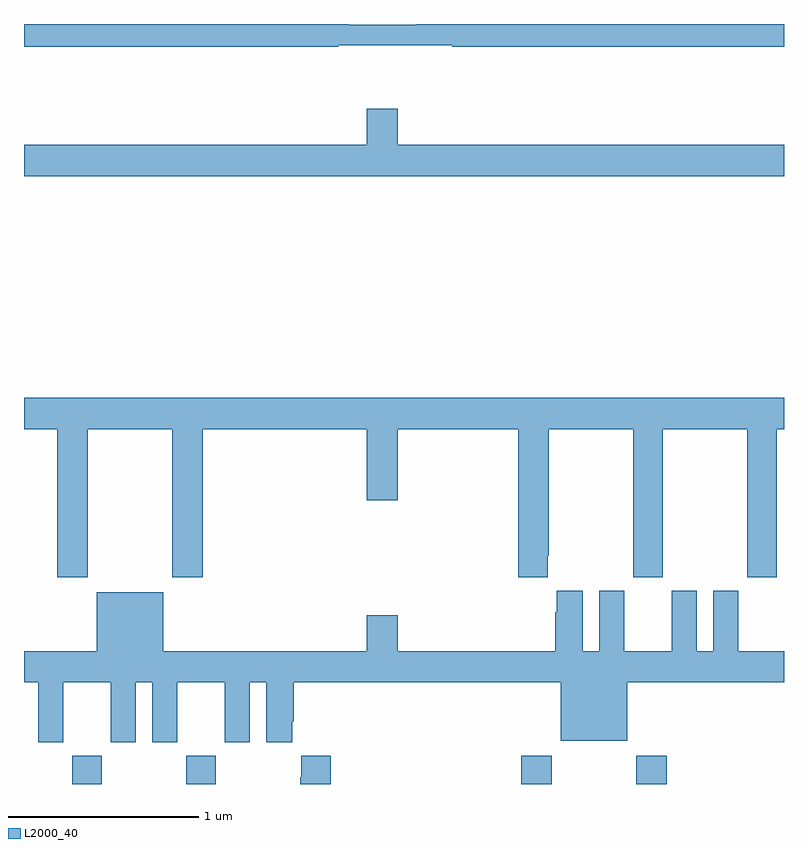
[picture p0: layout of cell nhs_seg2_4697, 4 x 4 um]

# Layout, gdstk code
import gdstk
lib = gdstk.Library(unit=1e-6, precision=1e-09)
def R(c, l, rs):  # rectangles x0, y0, x1, y1
    for r in rs: c.add(gdstk.rectangle(r[:2], r[2:], *l))
def P(c, l, *ps):  # polygons
    for p in ps: c.add(gdstk.Polygon(p, *l))
L2000_40 = (2000, 40)

nhs_seg2_4697 = lib.new_cell('nhs_seg2_4697')
R(nhs_seg2_4697, L2000_40, [(367.255,613.8,367.41,613.948), (367.855,613.8,368.01,613.948), (369.617,613.8,369.777,613.948), (370.222,613.8,370.382,613.948)])
P(nhs_seg2_4697, L2000_40, [(368.655,617.688),(369.255,617.688),(369.255,617.68),(371,617.68),(371,617.8),(369.064,617.8),(369.064,617.797),(368.708,617.797),(368.708,617.8),(367,617.8),(367,617.68),(368.655,617.68)],
  [(371,617.164),(368.968,617.164),(368.968,617.353),(368.804,617.353),(368.804,617.164),(367,617.164),(367,617),(371,617)],
  [(367.335,615.668),(367.78,615.668),(367.78,614.889),(367.94,614.889),(367.94,615.668),(368.804,615.668),(368.804,615.294),(368.968,615.294),(368.968,615.668),(369.602,615.668),(369.602,614.889),(369.757,614.889),(369.757,615.001),(369.762,615.001),(369.762,615.668),(370.207,615.668),(370.207,614.889),(370.362,614.889),(370.362,615.668),(370.807,615.668),(370.807,614.889),(370.962,614.889),(370.962,615.668),(371,615.668),(371,615.832),(367,615.832),(367,615.668),(367.175,615.668),(367.175,614.889),(367.335,614.889)],
  [(367.732,614.809),(367.382,614.809),(367.382,614.5),(367,614.5),(367,614.336),(367.076,614.336),(367.076,614.019),(367.207,614.019),(367.207,614.336),(367.457,614.336),(367.457,614.019),(367.588,614.019),(367.588,614.336),(367.676,614.336),(367.676,614.019),(367.807,614.019),(367.807,614.336),(368.057,614.336),(368.057,614.019),(368.188,614.019),(368.188,614.336),(368.276,614.336),(368.276,614.019),(368.413,614.019),(368.413,614.131),(368.42,614.131),(368.42,614.336),(369.824,614.336),(369.824,614.027),(370.174,614.027),(370.174,614.336),(371,614.336),(371,614.5),(370.759,614.5),(370.759,614.818),(370.628,614.818),(370.628,614.5),(370.54,614.5),(370.54,614.818),(370.409,614.818),(370.409,614.5),(370.159,614.5),(370.159,614.818),(370.028,614.818),(370.028,614.5),(369.94,614.5),(369.94,614.818),(369.803,614.818),(369.803,614.705),(369.797,614.705),(369.797,614.5),(368.968,614.5),(368.968,614.689),(368.804,614.689),(368.804,614.5),(367.732,614.5)],
  [(368.615,613.948),(368.459,613.948),(368.459,613.835),(368.455,613.835),(368.455,613.8),(368.615,613.8)])

lib.write_gds('nhs_seg2_4697.gds')
